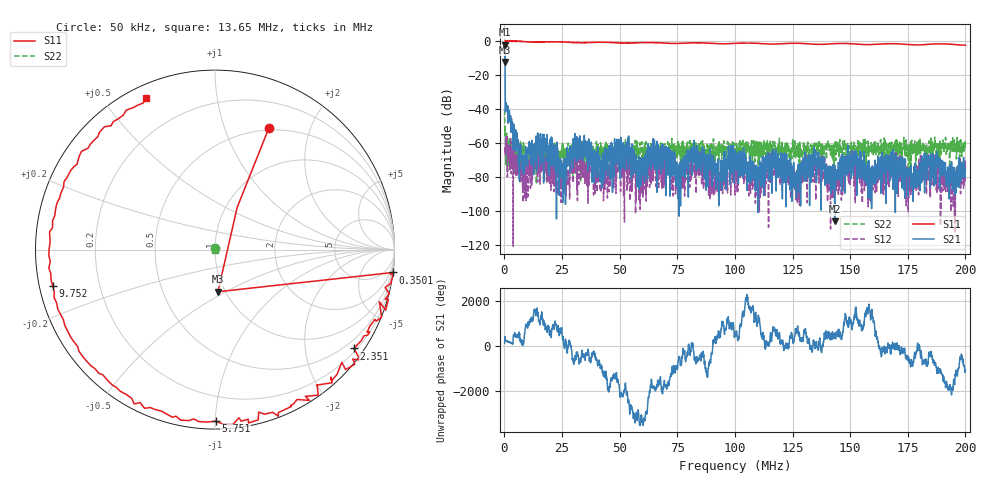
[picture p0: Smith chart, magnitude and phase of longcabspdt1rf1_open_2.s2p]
! 26-Feb-26 11:06:32 AM
! E:\VNA_MEASUREMENTS\LONGCAB_SPDT1_OPENSHORT\LONGCABSPDT1RF1_OPEN_2.S2P
! CHANNEL.1
! TR.MEASUREMENT
! CORRECTED.DATA
# GHZ S RI R 50.0
! FREQ.GHZ  S11RE  S11IM  S21RE  S21IM  S12RE  S12IM  S22RE  S22IM
!; PortSelection: Port_12
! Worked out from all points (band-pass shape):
!   2000 points, 50 kHz to 200 MHz, reference 50 ohm
!   highest |S21| = -2.37 dB at 50 kHz (marker M1); lowest = -106.0 dB at 143.3 MHz (marker M2)
!   |S21| within 3 dB of the highest: start of sweep to 88.7 kHz
!   lowest |S11| = -12.6 dB at 250 kHz (marker M3), VSWR 1.62, Z = 46.2 - j23 ohm
!   |S11| at or under -10 dB: 132.9 kHz to 270.4 kHz (137.6 kHz wide, 68.2 % of centre)
!   |S22| runs from -91.2 to -40.4 dB; largest |S21 - S12| = 0.76
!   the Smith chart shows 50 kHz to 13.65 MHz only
!   S11 on the Smith chart (normalised r, x): 50 kHz: 0.47, +1.43; 350.1 kHz: -0, -16; 2.351 MHz: 0.28, -3.11; 5.751 MHz: 0.05, -1.00; 9.752 MHz: 0.04, -0.11; 13.65 MHz: 0.05, +0.64
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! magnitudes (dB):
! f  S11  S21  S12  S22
! 50 kHz  -2.6  -2.4  -62.7  -40.4
! 250 kHz  -12.6  -6.6  -63.2  -50.6
! 350.1 kHz  0.0  -41.8  -67.1  -55.3
! 1.35 MHz  0.0  -42.1  -66.8  -76.9
! 2.351 MHz  -0.5  -47.7  -61.9  -59.9
! 5.751 MHz  -0.4  -62.6  -73.5  -63.6
! 9.752 MHz  -0.7  -70.3  -78.3  -75.2
! 13.65 MHz  -0.7  -56.0  -74.1  -73.8
! 25.86 MHz  -0.8  -72.2  -84.7  -66.7
! 33.46 MHz  -1.2  -64.5  -68.0  -65.1
! 41.86 MHz  -0.9  -77.3  -88.5  -66.7
! 48.76 MHz  -1.2  -57.8  -71.7  -61.5
! 58.16 MHz  -1.2  -69.8  -85.4  -69.1
! 66.77 MHz  -1.2  -61.0  -69.6  -73.4
! 82.77 MHz  -1.3  -62.7  -70.3  -60.0
! 92.57 MHz  -1.7  -69.5  -86.8  -67.0
! 100.1 MHz  -1.6  -66.4  -73.3  -66.0
! 109.3 MHz  -1.5  -73.2  -78.7  -63.2
! 133.4 MHz  -1.9  -80.2  -69.2  -63.4
! 143.3 MHz  -1.7  -106.0  -78.4  -62.6
! 166.7 MHz  -1.8  -68.2  -85.2  -63.6
! 200 MHz  -2.6  -75.8  -73.4  -58.4
